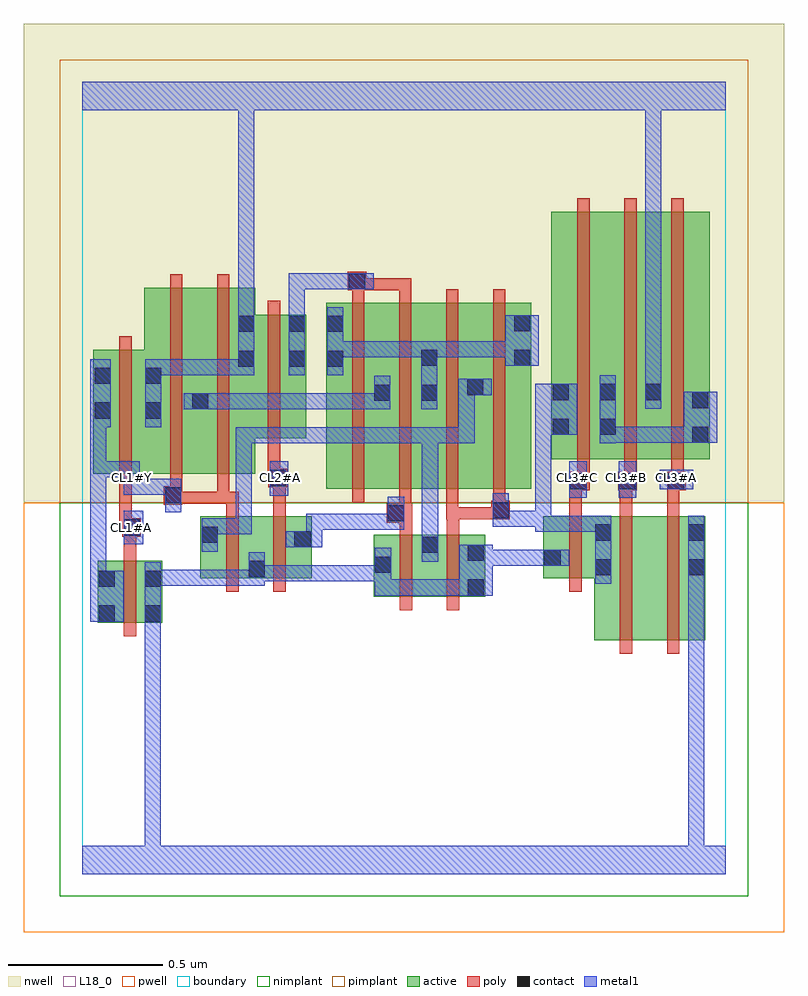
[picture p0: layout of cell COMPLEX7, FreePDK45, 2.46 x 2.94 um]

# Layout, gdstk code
import gdstk
lib = gdstk.Library(unit=1e-6, precision=1e-09)
def R(c, l, rs):  # rectangles x0, y0, x1, y1
    for r in rs: c.add(gdstk.rectangle(r[:2], r[2:], *l))
def A(c, l, x, y, w, h, nx, ny, dx, dy):  # array of equal rectangles
    R(c, l, [(x+i*dx, y+j*dy, x+i*dx+w, y+j*dy+h) for i in range(nx) for j in range(ny)])
active = (1, 0)
pwell = (2, 0)
nwell = (3, 0)
nimplant = (4, 0)
pimplant = (5, 0)
poly = (9, 0)
contact = (10, 0)
metal1 = (11, 0)
L18_0 = (18, 0)
boundary = (235, 0)

complex7 = lib.new_cell('COMPLEX7')
R(complex7, active, [(1.654,0.756,1.714,1.156), (1.654,0.756,1.834,1.156), (1.834,0.756,2.014,1.156), (1.954,0.756,2.014,1.156), (0.05,0.812,0.11,1.012), (0.05,0.812,0.258,1.012), (0.198,0.812,0.258,1.012), (0.942,0.896,1.002,1.096), (0.942,0.896,1.154,1.096), (1.094,0.896,1.302,1.096), (1.094,0.896,1.154,1.094), (1.242,0.896,1.302,1.096), (0.382,0.956,0.442,1.156), (0.382,0.956,0.594,1.156), (0.534,0.956,0.594,1.156), (0.534,0.956,0.742,1.156), (0.682,0.956,0.742,1.156), (1.49,0.956,1.714,1.156), (1.49,0.956,1.55,1.156), (0.788,1.246,1,1.846), (0.788,1.246,0.848,1.846), (0.94,1.246,1,1.844), (0.94,1.246,1.152,1.846), (1.092,1.246,1.152,1.844), (1.092,1.246,1.3,1.846), (1.24,1.246,1.3,1.844), (1.24,1.246,1.452,1.846), (1.392,1.246,1.452,1.844), (0.036,1.294,0.096,1.694), (0.036,1.294,0.26,1.694), (0.2,1.294,0.412,1.894), (0.2,1.294,0.26,1.644), (0.352,1.294,0.56,1.894), (0.352,1.294,0.412,1.844), (1.516,1.34,1.576,2.044), (1.516,1.34,1.728,2.14), (1.668,1.34,1.728,2.044), (1.668,1.34,1.876,2.14), (1.816,1.34,1.876,2.044), (1.816,1.34,2.028,2.14), (1.968,1.34,2.028,2.044), (0.5,1.408,0.56,1.808), (0.5,1.408,0.724,1.808), (0.664,1.408,0.724,1.808)])
R(complex7, pwell, [(-0.188,-0.188,2.268,1.2)])
R(complex7, nwell, [(-0.188,1.2,2.268,2.748)])
R(complex7, nimplant, [(-0.072,-0.072,2.152,1.2)])
R(complex7, pimplant, [(-0.072,1.2,2.152,2.632)])
A(complex7, poly, 0.872, 1.202, 0.04, 0.688, 4, 1, 0.152, 0)
A(complex7, poly, 1.6, 1.26, 0.04, 0.076, 3, 1, 0.152, 0)
A(complex7, poly, 1.6, 1.296, 0.04, 0.888, 3, 1, 0.152, 0)
R(complex7, poly, [(1.738,0.712,1.778,1.2), (1.89,0.712,1.93,1.2), (0.134,0.768,0.174,1.056), (1.026,0.852,1.066,1.14), (1.178,0.852,1.218,1.14), (0.466,0.912,0.506,1.2), (0.618,0.912,0.658,1.2), (1.574,0.912,1.614,1.2), (0.134,1.016,0.174,1.13), (0.13,1.09,0.19,1.15), (1.026,1.1,1.066,1.176), (1.178,1.1,1.218,1.186), (0.12,1.11,0.16,1.29), (0.12,1.11,0.17,1.15), (0.13,1.11,0.17,1.15), (0.984,1.136,1.066,1.196), (1.176,1.146,1.216,1.242), (1.176,1.146,1.218,1.186), (1.178,1.146,1.218,1.186), (1.178,1.146,1.218,1.186), (1.178,1.146,1.362,1.186), (1.322,1.146,1.362,1.186), (1.322,1.146,1.362,1.186), (1.322,1.146,1.382,1.206), (1.024,1.156,1.064,1.196), (1.024,1.156,1.064,1.196), (1.024,1.156,1.064,1.242), (0.466,1.16,0.506,1.236), (0.618,1.16,0.658,1.29), (1.574,1.16,1.614,1.28), (1.738,1.16,1.778,1.28), (1.89,1.16,1.93,1.28), (1.328,1.166,1.368,1.242), (0.264,1.194,0.324,1.254), (0.284,1.196,0.476,1.236), (0.436,1.196,0.476,1.236), (0.436,1.196,0.476,1.236), (0.436,1.196,0.476,1.236), (0.436,1.196,0.476,1.236), (0.436,1.196,0.476,1.29), (0.436,1.196,0.506,1.236), (0.284,1.214,0.324,1.29), (1.574,1.24,1.614,1.28), (1.574,1.24,1.614,1.28), (1.574,1.24,1.64,1.3), (1.732,1.24,1.792,1.3), (1.738,1.24,1.778,1.28), (1.738,1.24,1.778,1.28), (1.89,1.24,1.93,1.28), (1.89,1.24,1.93,1.28), (1.89,1.24,1.95,1.3), (0.12,1.25,0.16,1.738), (0.284,1.25,0.324,1.938), (0.436,1.25,0.476,1.938), (0.602,1.25,0.662,1.31), (0.6,1.27,0.642,1.31), (0.6,1.27,0.64,1.404), (0.602,1.27,0.642,1.31), (0.6,1.364,0.64,1.852), (0.872,1.85,0.912,1.926), (1.024,1.85,1.064,1.926), (0.858,1.886,0.918,1.946), (0.878,1.886,1.064,1.926), (1.024,1.886,1.064,1.926), (1.024,1.886,1.064,1.926), (1.024,1.886,1.064,1.926)])
A(complex7, contact, 1.578, 1.244, 0.052, 0.052, 3, 1, 0.158, 0)
R(complex7, contact, [(0.054,0.816,0.106,0.868), (0.202,0.816,0.254,0.868), (1.246,0.9,1.298,0.952), (0.054,0.928,0.106,0.98), (0.202,0.928,0.254,0.98), (0.538,0.96,0.59,1.012), (1.658,0.966,1.71,1.018), (1.958,0.966,2.01,1.018), (0.946,0.974,0.998,1.026), (1.494,0.996,1.546,1.048), (1.246,1.012,1.298,1.064), (1.098,1.038,1.15,1.09), (0.686,1.056,0.738,1.108), (0.386,1.07,0.438,1.122), (1.658,1.078,1.71,1.13), (1.958,1.078,2.01,1.13), (0.134,1.094,0.186,1.146), (0.988,1.14,1.04,1.192), (1.326,1.15,1.378,1.202), (0.268,1.198,0.32,1.25), (0.606,1.254,0.658,1.306), (1.972,1.394,2.024,1.446), (1.52,1.42,1.572,1.472), (1.672,1.42,1.724,1.472), (0.04,1.472,0.092,1.524), (0.204,1.472,0.256,1.524), (0.356,1.502,0.408,1.554), (1.972,1.506,2.024,1.558), (0.944,1.53,0.996,1.582), (1.096,1.53,1.148,1.582), (1.52,1.532,1.572,1.584), (1.672,1.532,1.724,1.584), (1.82,1.532,1.872,1.584), (1.244,1.548,1.296,1.6), (0.04,1.584,0.092,1.636), (0.204,1.584,0.256,1.636), (0.504,1.64,0.556,1.692), (0.668,1.64,0.72,1.692), (0.792,1.64,0.844,1.692), (1.096,1.642,1.148,1.694), (1.396,1.642,1.448,1.694), (0.504,1.752,0.556,1.804), (0.668,1.752,0.72,1.804), (0.792,1.752,0.844,1.804), (1.396,1.754,1.448,1.806), (0.862,1.89,0.914,1.942)])
A(complex7, metal1, 0.614, 1.502, 0.162, 0.052, 3, 1, 0.11, 0)
R(complex7, metal1, [(0,0,2.08,0.092), (0.202,0.04,0.254,0.092), (0.202,0.04,0.254,0.092), (0.202,0.04,0.254,0.092), (0.202,0.04,0.254,0.092), (0.202,0.04,0.254,0.092), (0.202,0.04,0.254,0.092), (0.202,0.04,0.254,0.092), (0.202,0.04,0.254,0.092), (0.202,0.04,0.254,0.092), (0.202,0.04,0.254,0.092), (0.202,0.04,0.254,0.092), (0.202,0.04,0.254,0.092), (0.202,0.04,0.254,0.84), (1.958,0.04,2.01,0.092), (1.958,0.04,2.01,0.092), (1.958,0.04,2.01,0.092), (1.958,0.04,2.01,0.092), (1.958,0.04,2.01,0.092), (1.958,0.04,2.01,0.092), (1.958,0.04,2.01,0.092), (1.958,0.04,2.01,0.092), (1.958,0.04,2.01,0.092), (1.958,0.04,2.01,0.092), (1.958,0.04,2.01,0.092), (1.958,0.04,2.01,0.092), (1.958,0.04,2.01,0.99), (0.202,0.788,0.254,0.84), (0.202,0.788,0.254,0.84), (0.202,0.788,0.254,0.84), (0.202,0.788,0.254,0.84), (0.202,0.788,0.254,1.008), (0.026,0.816,0.134,0.98), (0.946,0.9,0.998,0.952), (0.946,0.9,1.016,0.952), (0.946,0.9,0.998,0.998), (0.964,0.9,1.016,0.952), (0.964,0.9,1.15,0.952), (1.098,0.9,1.15,0.952), (1.098,0.9,1.15,0.952), (1.098,0.9,1.15,0.952), (1.098,0.9,1.27,0.952), (1.218,0.9,1.326,1.064), (0.026,0.928,0.078,1.334), (0.202,0.932,0.254,0.984), (0.202,0.932,0.254,0.984), (0.202,0.932,0.366,0.984), (0.314,0.932,0.366,0.984), (0.314,0.932,0.366,0.984), (0.314,0.932,0.366,0.984), (0.314,0.932,0.59,0.984), (0.538,0.932,0.59,1.04), (1.658,0.938,1.71,1.158), (1.958,0.938,2.01,1.158), (0.538,0.946,0.63,0.998), (0.578,0.946,0.63,0.998), (0.578,0.946,0.7,0.998), (0.648,0.946,0.7,0.998), (0.648,0.946,0.886,0.998), (0.834,0.946,0.886,0.998), (0.834,0.946,0.886,0.998), (0.834,0.946,0.886,0.998), (0.834,0.946,0.886,0.998), (0.834,0.946,0.886,0.998), (0.834,0.946,0.998,0.998), (0.946,0.946,0.998,1.054), (1.258,0.996,1.31,1.048), (1.258,0.996,1.31,1.048), (1.258,0.996,1.31,1.048), (1.258,0.996,1.31,1.064), (1.258,0.996,1.436,1.048), (1.384,0.996,1.436,1.048), (1.384,0.996,1.518,1.048), (1.466,0.996,1.574,1.048), (1.098,1.01,1.15,1.118), (0.386,1.042,0.438,1.15), (0.658,1.056,0.776,1.108), (0.724,1.056,0.776,1.164), (0.134,1.066,0.198,1.174), (1.098,1.066,1.15,1.444), (0.386,1.098,0.438,1.15), (0.386,1.098,0.438,1.15), (0.386,1.098,0.548,1.15), (0.496,1.098,0.548,1.15), (0.496,1.098,0.548,1.444), (1.464,1.106,1.516,1.158), (1.464,1.106,1.546,1.158), (1.464,1.106,1.516,1.174), (1.494,1.106,1.546,1.158), (1.494,1.106,1.71,1.158), (1.658,1.106,1.71,1.158), (1.658,1.106,1.71,1.158), (0.724,1.112,0.776,1.164), (0.724,1.112,0.776,1.164), (0.724,1.112,0.776,1.164), (0.724,1.112,0.886,1.164), (0.834,1.112,0.886,1.164), (0.834,1.112,1.038,1.164), (0.986,1.112,1.038,1.164), (0.986,1.112,1.04,1.164), (0.988,1.112,1.04,1.22), (1.326,1.122,1.378,1.23), (1.326,1.122,1.42,1.174), (1.368,1.122,1.42,1.174), (1.368,1.122,1.516,1.174), (1.464,1.122,1.516,1.174), (1.464,1.122,1.516,1.472), (0.268,1.17,0.32,1.278), (1.574,1.216,1.63,1.334), (1.734,1.216,1.79,1.334), (0.606,1.222,0.666,1.334), (0.134,1.226,0.186,1.334), (0.134,1.226,0.32,1.278), (1.866,1.244,1.974,1.306), (0.026,1.282,0.078,1.334), (0.026,1.282,0.078,1.334), (0.026,1.282,0.078,1.334), (0.026,1.282,0.078,1.334), (0.026,1.282,0.078,1.334), (0.026,1.282,0.186,1.334), (0.026,1.282,0.078,1.496), (0.496,1.392,0.548,1.444), (0.496,1.392,0.548,1.444), (0.496,1.392,0.548,1.444), (0.496,1.392,0.548,1.444), (0.496,1.392,0.548,1.444), (0.496,1.392,0.776,1.444), (0.724,1.392,0.776,1.444), (0.724,1.392,0.886,1.444), (0.834,1.392,0.886,1.444), (0.834,1.392,0.886,1.444), (0.834,1.392,0.886,1.444), (0.834,1.392,0.996,1.444), (0.944,1.392,0.996,1.444), (0.944,1.392,0.996,1.444), (0.944,1.392,0.996,1.444), (0.944,1.392,1.15,1.444), (1.098,1.392,1.15,1.444), (1.098,1.392,1.15,1.444), (1.098,1.392,1.15,1.444), (1.098,1.392,1.15,1.444), (1.098,1.392,1.15,1.444), (1.098,1.392,1.268,1.444), (1.216,1.392,1.268,1.444), (1.216,1.392,1.268,1.6), (1.672,1.392,1.724,1.612), (1.672,1.394,1.724,1.446), (1.672,1.394,1.724,1.446), (1.672,1.394,1.868,1.446), (1.816,1.394,1.868,1.446), (1.816,1.394,1.996,1.446), (1.944,1.394,1.996,1.446), (1.944,1.394,1.996,1.446), (1.944,1.394,2.052,1.558), (1.464,1.42,1.6,1.584), (0.026,1.444,0.092,1.664), (0.204,1.444,0.256,1.664), (0.328,1.502,0.436,1.554), (0.384,1.502,0.436,1.554), (0.384,1.502,0.436,1.554), (0.384,1.502,0.548,1.554), (0.496,1.502,0.548,1.554), (0.496,1.502,0.666,1.554), (0.614,1.502,0.666,1.554), (0.724,1.502,0.776,1.554), (0.724,1.502,0.776,1.554), (0.724,1.502,0.776,1.554), (0.834,1.502,0.886,1.554), (0.944,1.502,0.996,1.61), (1.096,1.502,1.148,1.722), (1.82,1.504,1.872,1.612), (1.216,1.548,1.324,1.6), (1.82,1.56,1.872,1.612), (1.82,1.56,1.872,1.612), (1.82,1.56,1.872,2.52), (0.204,1.612,0.256,1.664), (0.204,1.612,0.256,1.664), (0.204,1.612,0.438,1.664), (0.386,1.612,0.438,1.664), (0.386,1.612,0.438,1.664), (0.386,1.612,0.438,1.664), (0.386,1.612,0.556,1.664), (0.504,1.612,0.556,1.832), (0.668,1.612,0.72,1.832), (0.792,1.612,0.844,1.832), (1.368,1.642,1.476,1.806), (0.792,1.67,0.886,1.722), (0.834,1.67,0.886,1.722), (0.834,1.67,1.038,1.722), (0.986,1.67,1.038,1.722), (0.986,1.67,1.038,1.722), (0.986,1.67,1.038,1.722), (0.986,1.67,1.148,1.722), (1.096,1.67,1.15,1.722), (1.098,1.67,1.15,1.722), (1.098,1.67,1.26,1.722), (1.208,1.67,1.26,1.722), (1.208,1.67,1.26,1.722), (1.208,1.67,1.26,1.722), (1.208,1.67,1.42,1.722), (0.504,1.78,0.556,1.832), (0.504,1.78,0.556,1.832), (0.504,1.78,0.556,1.832), (0.504,1.78,0.556,1.832), (0.504,1.78,0.556,1.832), (0.504,1.78,0.556,1.832), (0.504,1.78,0.556,1.832), (0.504,1.78,0.556,1.832), (0.504,1.78,0.556,1.832), (0.504,1.78,0.556,1.832), (0.504,1.78,0.556,1.832), (0.504,1.78,0.556,1.832), (0.504,1.78,0.556,2.52), (0.668,1.78,0.72,1.832), (0.668,1.78,0.72,1.832), (0.668,1.78,0.72,1.832), (0.668,1.78,0.72,1.832), (0.668,1.78,0.72,1.942), (0.668,1.89,0.72,1.942), (0.668,1.89,0.886,1.942), (0.834,1.89,0.886,1.942), (0.834,1.89,0.886,1.942), (0.834,1.89,0.942,1.942), (0,2.468,2.08,2.56), (1.82,2.468,1.872,2.52), (1.82,2.468,1.872,2.52), (1.82,2.468,1.872,2.52), (1.82,2.468,1.872,2.52), (1.82,2.468,1.872,2.52), (1.82,2.468,1.872,2.52)])
A(complex7, L18_0, 1.574, 1.254, 0.052, 0.052, 3, 1, 0.16, 0)
R(complex7, L18_0, [(0,0,2.08,0.092), (0.202,0.04,0.254,0.092), (0.202,0.04,0.254,0.092), (0.202,0.04,0.254,0.092), (0.202,0.04,0.254,0.092), (0.202,0.04,0.254,0.092), (0.202,0.04,0.254,0.092), (0.202,0.04,0.254,0.092), (0.202,0.04,0.254,0.092), (0.202,0.04,0.254,0.092), (0.202,0.04,0.254,0.092), (0.202,0.04,0.254,0.092), (0.202,0.04,0.254,0.092), (0.202,0.04,0.254,0.84), (1.958,0.04,2.01,0.092), (1.958,0.04,2.01,0.092), (1.958,0.04,2.01,0.092), (1.958,0.04,2.01,0.092), (1.958,0.04,2.01,0.092), (1.958,0.04,2.01,0.092), (1.958,0.04,2.01,0.092), (1.958,0.04,2.01,0.092), (1.958,0.04,2.01,0.092), (1.958,0.04,2.01,0.092), (1.958,0.04,2.01,0.092), (1.958,0.04,2.01,0.092), (1.958,0.04,2.01,0.99), (0.202,0.788,0.254,0.84), (0.202,0.788,0.254,0.84), (0.202,0.788,0.254,0.84), (0.202,0.788,0.254,0.84), (0.202,0.788,0.254,1.008), (0.026,0.816,0.134,0.98), (0.946,0.9,0.998,0.952), (0.946,0.9,0.998,0.998), (0.946,0.9,1.016,0.952), (0.964,0.9,1.016,0.952), (0.964,0.9,1.15,0.952), (1.098,0.9,1.15,0.952), (1.098,0.9,1.15,0.952), (1.098,0.9,1.15,0.952), (1.098,0.9,1.27,0.952), (1.218,0.9,1.326,1.064), (0.026,0.928,0.078,1.334), (0.202,0.932,0.254,0.984), (0.202,0.932,0.254,0.984), (0.202,0.932,0.366,0.984), (0.314,0.932,0.366,0.984), (0.314,0.932,0.366,0.984), (0.314,0.932,0.366,0.984), (0.314,0.932,0.59,0.984), (0.538,0.932,0.59,1.04), (1.958,0.938,2.01,1.158), (0.538,0.946,0.63,0.998), (0.578,0.946,0.63,0.998), (0.578,0.946,0.7,0.998), (0.648,0.946,0.7,0.998), (0.648,0.946,0.886,0.998), (0.834,0.946,0.886,0.998), (0.834,0.946,0.886,0.998), (0.834,0.946,0.886,0.998), (0.834,0.946,0.886,0.998), (0.834,0.946,0.886,0.998), (0.834,0.946,0.998,0.998), (0.946,0.946,0.998,1.054), (1.258,0.996,1.31,1.048), (1.258,0.996,1.31,1.048), (1.258,0.996,1.31,1.048), (1.258,0.996,1.31,1.064), (1.258,0.996,1.436,1.048), (1.384,0.996,1.436,1.048), (1.384,0.996,1.518,1.048), (1.466,0.996,1.574,1.048), (0.134,1.066,0.198,1.174), (0.134,1.094,0.186,1.146), (0.268,1.17,0.32,1.278), (1.574,1.216,1.63,1.334), (1.734,1.216,1.79,1.334), (0.606,1.222,0.666,1.334), (0.134,1.226,0.186,1.334), (0.134,1.226,0.32,1.278), (1.866,1.244,1.974,1.306), (0.134,1.254,0.186,1.306), (0.614,1.254,0.666,1.306), (0.026,1.282,0.078,1.334), (0.026,1.282,0.078,1.334), (0.026,1.282,0.078,1.334), (0.026,1.282,0.078,1.334), (0.026,1.282,0.078,1.334), (0.026,1.282,0.078,1.496), (0.026,1.282,0.186,1.334), (0.026,1.444,0.092,1.664), (0.204,1.444,0.256,1.664), (1.82,1.504,1.872,1.612), (1.82,1.56,1.872,1.612), (1.82,1.56,1.872,1.612), (1.82,1.56,1.872,2.52), (0.204,1.612,0.256,1.664), (0.204,1.612,0.256,1.664), (0.204,1.612,0.438,1.664), (0.386,1.612,0.438,1.664), (0.386,1.612,0.438,1.664), (0.386,1.612,0.438,1.664), (0.386,1.612,0.556,1.664), (0.504,1.612,0.556,1.832), (0.504,1.78,0.556,1.832), (0.504,1.78,0.556,1.832), (0.504,1.78,0.556,1.832), (0.504,1.78,0.556,1.832), (0.504,1.78,0.556,1.832), (0.504,1.78,0.556,1.832), (0.504,1.78,0.556,1.832), (0.504,1.78,0.556,1.832), (0.504,1.78,0.556,1.832), (0.504,1.78,0.556,1.832), (0.504,1.78,0.556,1.832), (0.504,1.78,0.556,1.832), (0.504,1.78,0.556,2.52), (0,2.468,2.08,2.56), (1.82,2.468,1.872,2.52), (1.82,2.468,1.872,2.52), (1.82,2.468,1.872,2.52), (1.82,2.468,1.872,2.52), (1.82,2.468,1.872,2.52), (1.82,2.468,1.872,2.52)])
R(complex7, boundary, [(0,0,2.08,2.56)])
complex7.add(gdstk.Label('CL1#A', (0.16,1.12), layer=11, texttype=0))
complex7.add(gdstk.Label('CL1#Y', (0.16,1.28), layer=11, texttype=0))
complex7.add(gdstk.Label('CL2#A', (0.64,1.28), layer=11, texttype=0))
complex7.add(gdstk.Label('CL3#A', (1.92,1.28), layer=11, texttype=0))
complex7.add(gdstk.Label('CL3#B', (1.76,1.28), layer=11, texttype=0))
complex7.add(gdstk.Label('CL3#C', (1.6,1.28), layer=11, texttype=0))

lib.write_gds('COMPLEX7.gds')
